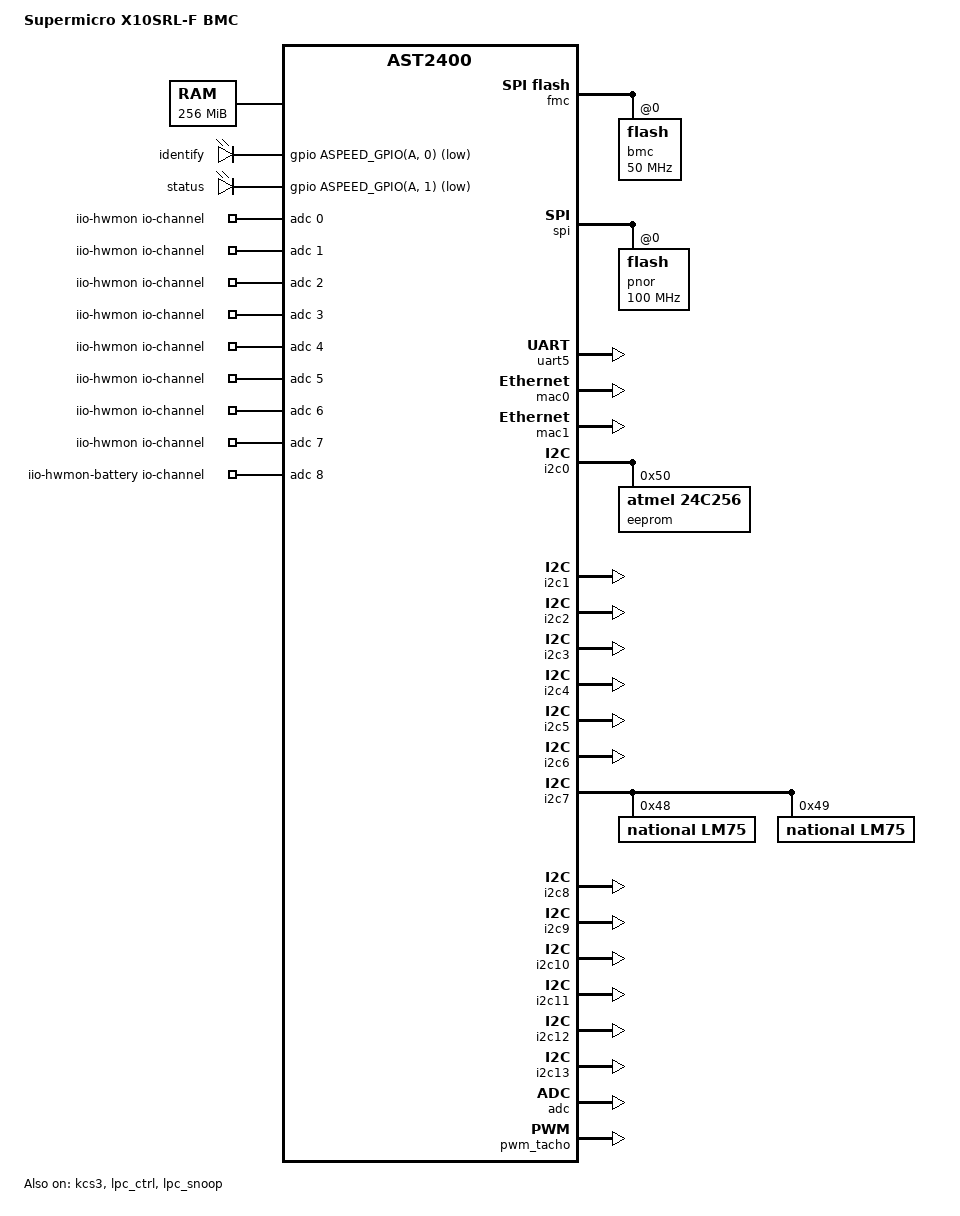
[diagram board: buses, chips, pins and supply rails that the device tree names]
// SPDX-License-Identifier: GPL-2.0+
/dts-v1/;

#include "aspeed-g4.dtsi"
#include <dt-bindings/gpio/aspeed-gpio.h>

/ {
    model = "Supermicro X10SRL-F BMC";
    compatible = "supermicro,x10srl-bmc", "aspeed,ast2400";

    chosen {
        stdout-path = &uart5;
        bootargs = "console=ttyS4,115200 earlyprintk";
    };

    memory@40000000 {
        // Conservative 256MB - actual hardware may have 512MB
        // Verify with actual hardware before increasing
        reg = <0x40000000 0x10000000>;
    };

    reserved-memory {
        #address-cells = <1>;
        #size-cells = <1>;
        ranges;

        vga_memory: framebuffer@4f000000 {
            no-map;
            reg = <0x4f000000 0x01000000>; // 16MB for VGA
        };
    };

    leds {
        compatible = "gpio-leds";

        // LED GPIO assignments are PLACEHOLDERS
        // Need verification from actual hardware or GPL source analysis
        led-identify {
            label = "identify";
            gpios = <&gpio ASPEED_GPIO(A, 0) GPIO_ACTIVE_LOW>;
        };

        led-status {
            label = "status";
            gpios = <&gpio ASPEED_GPIO(A, 1) GPIO_ACTIVE_LOW>;
        };
    };

    iio-hwmon {
        compatible = "iio-hwmon";
        // ADC channels enabled - specific sensor mapping needs verification
        io-channels = <&adc 0>, <&adc 1>, <&adc 2>, <&adc 3>,
                      <&adc 4>, <&adc 5>, <&adc 6>, <&adc 7>;
    };

    iio-hwmon-battery {
        compatible = "iio-hwmon";
        io-channels = <&adc 8>;
    };
};

&fmc {
    status = "okay";
    flash@0 {
        status = "okay";
        m25p,fast-read;
        label = "bmc";
        spi-max-frequency = <50000000>;
#include "openbmc-flash-layout.dtsi"
    };
};

&spi {
    status = "okay";
    pinctrl-names = "default";
    pinctrl-0 = <&pinctrl_spi1_default>;

    flash@0 {
        status = "okay";
        m25p,fast-read;
        label = "pnor";
        spi-max-frequency = <100000000>;
    };
};

&uart5 {
    status = "okay";
};

&mac0 {
    status = "okay";
    use-ncsi;
    pinctrl-names = "default";
    pinctrl-0 = <&pinctrl_rmii1_default>;
};

&mac1 {
    status = "okay";
    pinctrl-names = "default";
    pinctrl-0 = <&pinctrl_rgmii2_default>;
};

// I2C bus assignments are GENERIC
// Actual sensor addresses and devices need verification
&i2c0 {
    status = "okay";
    // Typically FRU EEPROM location
    eeprom@50 {
        compatible = "atmel,24c256";
        reg = <0x50>;
        pagesize = <64>;
    };
};

&i2c1 {
    status = "okay";
};

&i2c2 {
    status = "okay";
};

&i2c3 {
    status = "okay";
};

&i2c4 {
    status = "okay";
};

&i2c5 {
    status = "okay";
};

&i2c6 {
    status = "okay";
};

&i2c7 {
    status = "okay";
    // Temperature sensor placeholders - addresses need verification
    lm75@48 {
        compatible = "national,lm75";
        reg = <0x48>;
    };

    lm75@49 {
        compatible = "national,lm75";
        reg = <0x49>;
    };
};

&i2c8 {
    status = "okay";
};

&i2c9 {
    status = "okay";
};

&i2c10 {
    status = "okay";
};

&i2c11 {
    status = "okay";
};

&i2c12 {
    status = "okay";
};

&i2c13 {
    status = "okay";
};

&gpio {
    status = "okay";
    // GPIO line names are PLACEHOLDERS
    // Actual GPIO usage needs to be extracted from vendor GPL source
    gpio-line-names =
    /*A0-A7*/   "","","","","","","","",
    /*B0-B7*/   "","","","","","","","",
    /*C0-C7*/   "","","","","","","","",
    /*D0-D7*/   "","","","","","","","",
    /*E0-E7*/   "","","","","","","","",
    /*F0-F7*/   "","","","","","","","",
    /*G0-G7*/   "","","","","","","","",
    /*H0-H7*/   "","","","","","","","",
    /*I0-I7*/   "","","","","","","","",
    /*J0-J7*/   "","","","","","","","",
    /*K0-K7*/   "","","","","","","","",
    /*L0-L7*/   "","","","","","","","",
    /*M0-M7*/   "","","","","","","","",
    /*N0-N7*/   "","","","","","","","",
    /*O0-O7*/   "","","","","","","","",
    /*P0-P7*/   "","","","","","","","",
    /*Q0-Q7*/   "","","","","","","","",
    /*R0-R7*/   "","","","","","","","",
    /*S0-S7*/   "","","","","","","","",
    /*T0-T7*/   "","","","","","","","",
    /*U0-U7*/   "","","","","","","","",
    /*V0-V7*/   "","","","","","","","",
    /*W0-W7*/   "","","","","","","","",
    /*X0-X7*/   "","","","","","","","",
    /*Y0-Y7*/   "","","","","","","","",
    /*Z0-Z7*/   "","","","","","","","",
    /*AA0-AA7*/ "","","","","","","","",
    /*AB0-AB7*/ "","","","","","","","";
};

&adc {
    status = "okay";
};

&pwm_tacho {
    status = "okay";
    pinctrl-names = "default";
    pinctrl-0 = <&pinctrl_pwm0_default &pinctrl_pwm1_default
                 &pinctrl_pwm2_default &pinctrl_pwm3_default
                 &pinctrl_pwm4_default &pinctrl_pwm5_default
                 &pinctrl_pwm6_default &pinctrl_pwm7_default>;

    // Fan channel assignments need verification
    fan@0 {
        reg = <0x00>;
        aspeed,fan-tach-ch = /bits/ 8 <0x00>;
    };

    fan@1 {
        reg = <0x01>;
        aspeed,fan-tach-ch = /bits/ 8 <0x01>;
    };

    fan@2 {
        reg = <0x02>;
        aspeed,fan-tach-ch = /bits/ 8 <0x02>;
    };

    fan@3 {
        reg = <0x03>;
        aspeed,fan-tach-ch = /bits/ 8 <0x03>;
    };

    fan@4 {
        reg = <0x04>;
        aspeed,fan-tach-ch = /bits/ 8 <0x04>;
    };
};

&kcs3 {
    status = "okay";
    aspeed,lpc-io-reg = <0xca2>;
};

&lpc_ctrl {
    status = "okay";
};

&lpc_snoop {
    status = "okay";
    snoop-ports = <0x80>;
};
